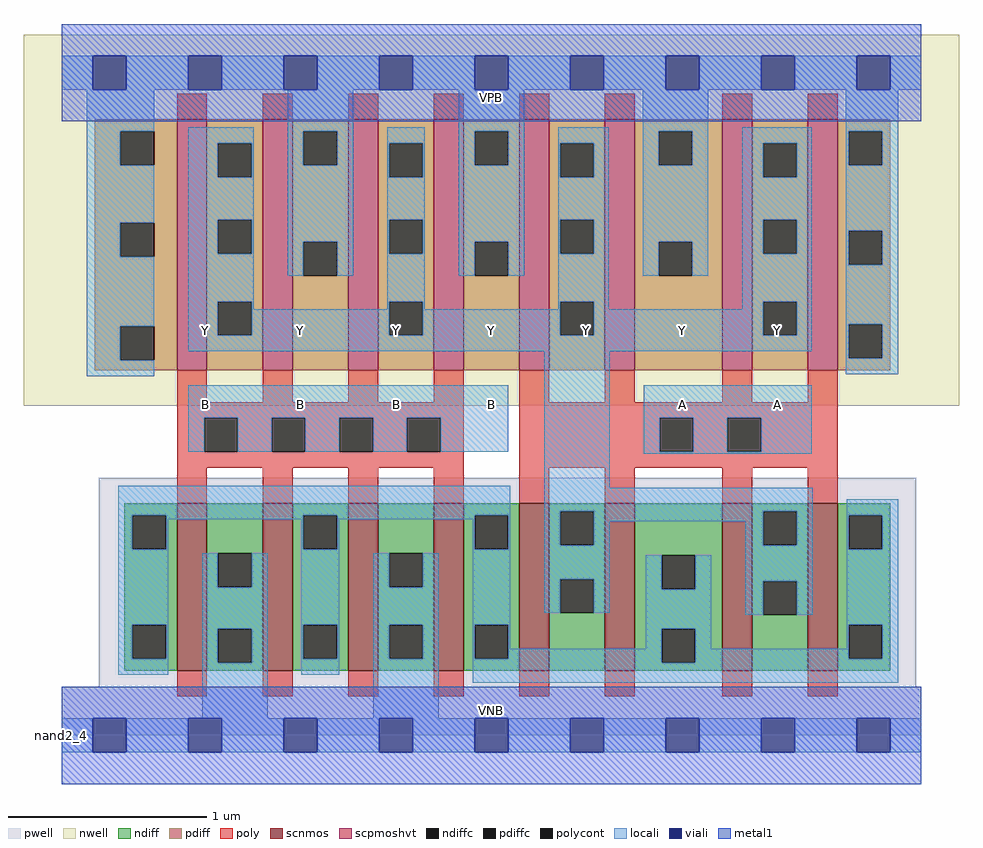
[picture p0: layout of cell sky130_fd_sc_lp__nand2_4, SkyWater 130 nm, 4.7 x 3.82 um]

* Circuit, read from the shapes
.subckt sky130_fd_sc_lp__nand2_4 A B VGND VNB VPB VPWR Y
XM1 VGND B n1 VNB sky130_fd_pr__nfet_01v8 w=0.84 l=0.15 m=4
XM2 Y A n1 VNB sky130_fd_pr__nfet_01v8 w=0.84 l=0.15 m=4
XM3 Y B VPWR VPB sky130_fd_pr__pfet_01v8_hvt w=1.26 l=0.15 m=4
XM4 Y A VPWR VPB sky130_fd_pr__pfet_01v8_hvt w=1.26 l=0.15 m=4
.ends

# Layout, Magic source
magic
tech sky130A
magscale 1 2
<< nwell >>
rect -38 331 902 704
<< pwell >>
rect 37 49 859 259
rect 0 0 864 49
<< scnmos >>
rect 116 65 146 233
rect 202 65 232 233
rect 288 65 318 233
rect 374 65 404 233
rect 460 65 490 233
rect 546 65 576 233
rect 664 65 694 233
rect 750 65 780 233
<< scpmoshvt >>
rect 116 367 146 619
rect 202 367 232 619
rect 288 367 318 619
rect 374 367 404 619
rect 460 367 490 619
rect 546 367 576 619
rect 664 367 694 619
rect 750 367 780 619
<< ndiff >>
rect 63 221 116 233
rect 63 187 71 221
rect 105 187 116 221
rect 63 111 116 187
rect 63 77 71 111
rect 105 77 116 111
rect 63 65 116 77
rect 146 183 202 233
rect 146 149 157 183
rect 191 149 202 183
rect 146 107 202 149
rect 146 73 157 107
rect 191 73 202 107
rect 146 65 202 73
rect 232 221 288 233
rect 232 187 243 221
rect 277 187 288 221
rect 232 111 288 187
rect 232 77 243 111
rect 277 77 288 111
rect 232 65 288 77
rect 318 183 374 233
rect 318 149 329 183
rect 363 149 374 183
rect 318 111 374 149
rect 318 77 329 111
rect 363 77 374 111
rect 318 65 374 77
rect 404 221 460 233
rect 404 187 415 221
rect 449 187 460 221
rect 404 111 460 187
rect 404 77 415 111
rect 449 77 460 111
rect 404 65 460 77
rect 490 225 546 233
rect 490 191 501 225
rect 535 191 546 225
rect 490 157 546 191
rect 490 123 501 157
rect 535 123 546 157
rect 490 65 546 123
rect 576 181 664 233
rect 576 147 603 181
rect 637 147 664 181
rect 576 107 664 147
rect 576 73 603 107
rect 637 73 664 107
rect 576 65 664 73
rect 694 225 750 233
rect 694 191 705 225
rect 739 191 750 225
rect 694 155 750 191
rect 694 121 705 155
rect 739 121 750 155
rect 694 65 750 121
rect 780 221 833 233
rect 780 187 791 221
rect 825 187 833 221
rect 780 111 833 187
rect 780 77 791 111
rect 825 77 833 111
rect 780 65 833 77
<< pdiff >>
rect 33 607 116 619
rect 33 573 59 607
rect 93 573 116 607
rect 33 515 116 573
rect 33 481 59 515
rect 93 481 116 515
rect 33 411 116 481
rect 33 377 59 411
rect 93 377 116 411
rect 33 367 116 377
rect 146 595 202 619
rect 146 561 157 595
rect 191 561 202 595
rect 146 518 202 561
rect 146 484 157 518
rect 191 484 202 518
rect 146 436 202 484
rect 146 402 157 436
rect 191 402 202 436
rect 146 367 202 402
rect 232 607 288 619
rect 232 573 243 607
rect 277 573 288 607
rect 232 496 288 573
rect 232 462 243 496
rect 277 462 288 496
rect 232 367 288 462
rect 318 595 374 619
rect 318 561 329 595
rect 363 561 374 595
rect 318 518 374 561
rect 318 484 329 518
rect 363 484 374 518
rect 318 436 374 484
rect 318 402 329 436
rect 363 402 374 436
rect 318 367 374 402
rect 404 607 460 619
rect 404 573 415 607
rect 449 573 460 607
rect 404 496 460 573
rect 404 462 415 496
rect 449 462 460 496
rect 404 367 460 462
rect 490 595 546 619
rect 490 561 501 595
rect 535 561 546 595
rect 490 518 546 561
rect 490 484 501 518
rect 535 484 546 518
rect 490 436 546 484
rect 490 402 501 436
rect 535 402 546 436
rect 490 367 546 402
rect 576 607 664 619
rect 576 573 600 607
rect 634 573 664 607
rect 576 496 664 573
rect 576 462 600 496
rect 634 462 664 496
rect 576 367 664 462
rect 694 595 750 619
rect 694 561 705 595
rect 739 561 750 595
rect 694 518 750 561
rect 694 484 705 518
rect 739 484 750 518
rect 694 436 750 484
rect 694 402 705 436
rect 739 402 750 436
rect 694 367 750 402
rect 780 607 833 619
rect 780 573 791 607
rect 825 573 833 607
rect 780 507 833 573
rect 780 473 791 507
rect 825 473 833 507
rect 780 413 833 473
rect 780 379 791 413
rect 825 379 833 413
rect 780 367 833 379
<< ndiffc >>
rect 71 187 105 221
rect 71 77 105 111
rect 157 149 191 183
rect 157 73 191 107
rect 243 187 277 221
rect 243 77 277 111
rect 329 149 363 183
rect 329 77 363 111
rect 415 187 449 221
rect 415 77 449 111
rect 501 191 535 225
rect 501 123 535 157
rect 603 147 637 181
rect 603 73 637 107
rect 705 191 739 225
rect 705 121 739 155
rect 791 187 825 221
rect 791 77 825 111
<< pdiffc >>
rect 59 573 93 607
rect 59 481 93 515
rect 59 377 93 411
rect 157 561 191 595
rect 157 484 191 518
rect 157 402 191 436
rect 243 573 277 607
rect 243 462 277 496
rect 329 561 363 595
rect 329 484 363 518
rect 329 402 363 436
rect 415 573 449 607
rect 415 462 449 496
rect 501 561 535 595
rect 501 484 535 518
rect 501 402 535 436
rect 600 573 634 607
rect 600 462 634 496
rect 705 561 739 595
rect 705 484 739 518
rect 705 402 739 436
rect 791 573 825 607
rect 791 473 825 507
rect 791 379 825 413
<< poly >>
rect 116 619 146 645
rect 202 619 232 645
rect 288 619 318 645
rect 374 619 404 645
rect 460 619 490 645
rect 546 619 576 645
rect 664 619 694 645
rect 750 619 780 645
rect 116 335 146 367
rect 202 335 232 367
rect 288 335 318 367
rect 374 335 404 367
rect 116 319 404 335
rect 116 285 143 319
rect 177 285 211 319
rect 245 285 279 319
rect 313 285 347 319
rect 381 285 404 319
rect 116 269 404 285
rect 116 233 146 269
rect 202 233 232 269
rect 288 233 318 269
rect 374 233 404 269
rect 460 335 490 367
rect 546 335 576 367
rect 664 335 694 367
rect 750 335 780 367
rect 460 319 780 335
rect 460 285 601 319
rect 635 285 669 319
rect 703 285 780 319
rect 460 269 780 285
rect 460 233 490 269
rect 546 233 576 269
rect 664 233 694 269
rect 750 233 780 269
rect 116 39 146 65
rect 202 39 232 65
rect 288 39 318 65
rect 374 39 404 65
rect 460 39 490 65
rect 546 39 576 65
rect 664 39 694 65
rect 750 39 780 65
<< polycont >>
rect 143 285 177 319
rect 211 285 245 319
rect 279 285 313 319
rect 347 285 381 319
rect 601 285 635 319
rect 669 285 703 319
<< locali >>
rect 0 649 31 683
rect 65 649 127 683
rect 161 649 223 683
rect 257 649 319 683
rect 353 649 415 683
rect 449 649 511 683
rect 545 649 607 683
rect 641 649 703 683
rect 737 649 799 683
rect 833 649 864 683
rect 25 607 93 649
rect 25 573 59 607
rect 25 515 93 573
rect 25 481 59 515
rect 25 411 93 481
rect 25 377 59 411
rect 127 595 193 611
rect 127 561 157 595
rect 191 561 193 595
rect 127 518 193 561
rect 127 484 157 518
rect 191 484 193 518
rect 127 436 193 484
rect 227 607 293 649
rect 227 573 243 607
rect 277 573 293 607
rect 227 496 293 573
rect 227 462 243 496
rect 277 462 293 496
rect 327 595 365 611
rect 327 561 329 595
rect 363 561 365 595
rect 327 518 365 561
rect 327 484 329 518
rect 363 484 365 518
rect 127 402 157 436
rect 191 428 193 436
rect 327 436 365 484
rect 399 607 465 649
rect 399 573 415 607
rect 449 573 465 607
rect 399 496 465 573
rect 399 462 415 496
rect 449 462 465 496
rect 499 595 550 611
rect 499 561 501 595
rect 535 561 550 595
rect 499 518 550 561
rect 499 484 501 518
rect 535 484 550 518
rect 327 428 329 436
rect 191 402 329 428
rect 363 428 365 436
rect 499 436 550 484
rect 584 607 650 649
rect 584 573 600 607
rect 634 573 650 607
rect 584 496 650 573
rect 584 462 600 496
rect 634 462 650 496
rect 684 595 754 611
rect 684 561 705 595
rect 739 561 754 595
rect 684 518 754 561
rect 684 484 705 518
rect 739 484 754 518
rect 499 428 501 436
rect 363 402 501 428
rect 535 428 550 436
rect 684 436 754 484
rect 684 428 705 436
rect 535 402 705 428
rect 739 402 754 436
rect 127 386 754 402
rect 788 607 841 649
rect 788 573 791 607
rect 825 573 841 607
rect 788 507 841 573
rect 788 473 791 507
rect 825 473 841 507
rect 788 413 841 473
rect 25 361 93 377
rect 127 319 449 352
rect 127 285 143 319
rect 177 285 211 319
rect 245 285 279 319
rect 313 285 347 319
rect 381 285 449 319
rect 57 221 451 251
rect 57 187 71 221
rect 105 217 243 221
rect 105 187 107 217
rect 57 111 107 187
rect 241 187 243 217
rect 277 217 415 221
rect 277 187 279 217
rect 57 77 71 111
rect 105 77 107 111
rect 57 61 107 77
rect 141 149 157 183
rect 191 149 207 183
rect 141 107 207 149
rect 141 73 157 107
rect 191 73 207 107
rect 141 17 207 73
rect 241 111 279 187
rect 413 187 415 217
rect 449 187 451 221
rect 241 77 243 111
rect 277 77 279 111
rect 241 61 279 77
rect 313 149 329 183
rect 363 149 379 183
rect 313 111 379 149
rect 313 77 329 111
rect 363 77 379 111
rect 313 17 379 77
rect 413 111 451 187
rect 485 249 551 386
rect 788 379 791 413
rect 825 379 841 413
rect 788 363 841 379
rect 585 319 754 352
rect 585 285 601 319
rect 635 285 669 319
rect 703 285 754 319
rect 585 283 754 285
rect 485 225 755 249
rect 485 191 501 225
rect 535 215 705 225
rect 535 191 551 215
rect 485 157 551 191
rect 687 191 705 215
rect 739 191 755 225
rect 485 123 501 157
rect 535 123 551 157
rect 587 147 603 181
rect 637 147 653 181
rect 413 77 415 111
rect 449 87 451 111
rect 587 107 653 147
rect 687 155 755 191
rect 687 121 705 155
rect 739 121 755 155
rect 789 221 841 237
rect 789 187 791 221
rect 825 187 841 221
rect 587 87 603 107
rect 449 77 603 87
rect 413 73 603 77
rect 637 87 653 107
rect 789 111 841 187
rect 789 87 791 111
rect 637 77 791 87
rect 825 77 841 111
rect 637 73 841 77
rect 413 53 841 73
rect 0 -17 31 17
rect 65 -17 127 17
rect 161 -17 223 17
rect 257 -17 319 17
rect 353 -17 415 17
rect 449 -17 511 17
rect 545 -17 607 17
rect 641 -17 703 17
rect 737 -17 799 17
rect 833 -17 864 17
<< viali >>
rect 31 649 65 683
rect 127 649 161 683
rect 223 649 257 683
rect 319 649 353 683
rect 415 649 449 683
rect 511 649 545 683
rect 607 649 641 683
rect 703 649 737 683
rect 799 649 833 683
rect 31 -17 65 17
rect 127 -17 161 17
rect 223 -17 257 17
rect 319 -17 353 17
rect 415 -17 449 17
rect 511 -17 545 17
rect 607 -17 641 17
rect 703 -17 737 17
rect 799 -17 833 17
<< metal1 >>
rect 0 683 864 715
rect 0 649 31 683
rect 65 649 127 683
rect 161 649 223 683
rect 257 649 319 683
rect 353 649 415 683
rect 449 649 511 683
rect 545 649 607 683
rect 641 649 703 683
rect 737 649 799 683
rect 833 649 864 683
rect 0 617 864 649
rect 0 17 864 49
rect 0 -17 31 17
rect 65 -17 127 17
rect 161 -17 223 17
rect 257 -17 319 17
rect 353 -17 415 17
rect 449 -17 511 17
rect 545 -17 607 17
rect 641 -17 703 17
rect 737 -17 799 17
rect 833 -17 864 17
rect 0 -49 864 -17
<< labels >>
flabel pwell s 0 0 864 49 0 FreeSans 200 0 0 0 VNB
port 4 nsew ground bidirectional
flabel nwell s 0 617 864 666 0 FreeSans 200 0 0 0 VPB
port 5 nsew power bidirectional
rlabel comment s 0 0 0 0 4 nand2_4
flabel metal1 s 0 617 864 666 0 FreeSans 340 0 0 0 VPWR
port 6 nsew power bidirectional
flabel metal1 s 0 0 864 49 0 FreeSans 340 0 0 0 VGND
port 3 nsew ground bidirectional
flabel locali s 127 390 161 424 0 FreeSans 340 0 0 0 Y
port 7 nsew signal output
flabel locali s 223 390 257 424 0 FreeSans 340 0 0 0 Y
port 7 nsew signal output
flabel locali s 319 390 353 424 0 FreeSans 340 0 0 0 Y
port 7 nsew signal output
flabel locali s 415 390 449 424 0 FreeSans 340 0 0 0 Y
port 7 nsew signal output
flabel locali s 511 390 545 424 0 FreeSans 340 0 0 0 Y
port 7 nsew signal output
flabel locali s 607 390 641 424 0 FreeSans 340 0 0 0 Y
port 7 nsew signal output
flabel locali s 703 390 737 424 0 FreeSans 340 0 0 0 Y
port 7 nsew signal output
flabel locali s 607 316 641 350 0 FreeSans 340 0 0 0 A
port 1 nsew signal input
flabel locali s 703 316 737 350 0 FreeSans 340 0 0 0 A
port 1 nsew signal input
flabel locali s 127 316 161 350 0 FreeSans 340 0 0 0 B
port 2 nsew signal input
flabel locali s 223 316 257 350 0 FreeSans 340 0 0 0 B
port 2 nsew signal input
flabel locali s 319 316 353 350 0 FreeSans 340 0 0 0 B
port 2 nsew signal input
flabel locali s 415 316 449 350 0 FreeSans 340 0 0 0 B
port 2 nsew signal input
<< properties >>
string LEFsite unit
string LEFclass CORE
string FIXED_BBOX 0 0 864 666
string GDS_FILE $PDKPATH/libs.ref/sky130_fd_sc_lp/gds/sky130_fd_sc_lp.gds
string LEFsymmetry X Y R90
string GDS_END 5780140
string GDS_START 5771496
<< end >>
